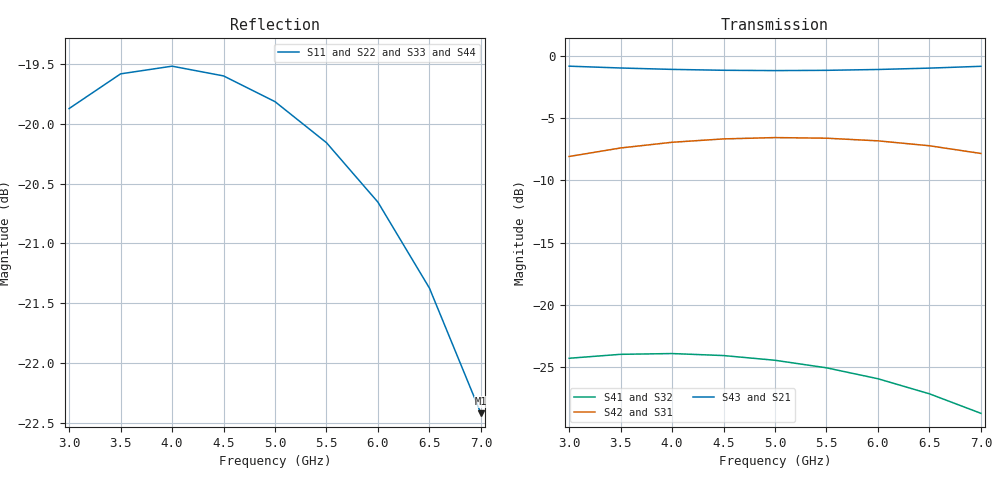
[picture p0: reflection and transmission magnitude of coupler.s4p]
! broadside stripline coupler, mom25d_ml
# Hz S RI R 61.354
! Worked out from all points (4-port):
!   9 points, 3 GHz to 7 GHz, reference 61.354 ohm
!   strongest paths, dB at 3 GHz, 4 GHz, 5 GHz, 6 GHz, 7 GHz:
!     S43: -0.8, -1.1, -1.2, -1.1, -0.8
!     S21: -0.8, -1.1, -1.2, -1.1, -0.8
!     S42: -8.1, -6.9, -6.6, -6.8, -7.8
!     S31: -8.1, -6.9, -6.6, -6.8, -7.8
!     S41: -24.3, -23.9, -24.5, -26.0, -28.7
!     S32: -24.3, -23.9, -24.5, -26.0, -28.7
!   lowest |S11| = -22.4 dB at 7 GHz (marker M1), VSWR 1.16, Z = 62.6 + j9.32 ohm
!   |S11| at or under -10 dB: start of sweep to end of sweep
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3e9  -0.1009 0.0105  0.0753 -0.908  0.3938 0.0271  0.0462 -0.0396
     0.0753 -0.908  -0.1009 0.0105  0.0462 -0.0396  0.3938 0.0271
     0.3938 0.0271  0.0462 -0.0396  -0.1009 0.0105  0.0753 -0.908
     0.0462 -0.0396  0.3938 0.0271  0.0753 -0.908  -0.1009 0.0105
3.5e9  -0.0993 0.0338  -0.1292 -0.8865  0.4218 -0.0671  0.032 -0.0545
       -0.1292 -0.8865  -0.0993 0.0338  0.032 -0.0545  0.4218 -0.0671
       0.4218 -0.0671  0.032 -0.0545  -0.0993 0.0338  -0.1292 -0.8865
       0.032 -0.0545  0.4218 -0.0671  -0.1292 -0.8865  -0.0993 0.0338
4e9  -0.0906 0.0544  -0.3185 -0.825  0.4181 -0.167  0.0135 -0.0621
     -0.3185 -0.825  -0.0906 0.0544  0.0135 -0.0621  0.4181 -0.167
     0.4181 -0.167  0.0135 -0.0621  -0.0906 0.0544  -0.3185 -0.825
     0.0135 -0.0621  0.4181 -0.167  -0.3185 -0.825  -0.0906 0.0544
5e9  -0.0603 0.0825  -0.6323 -0.6042  0.3222 -0.3425  -0.0224 -0.0554
     -0.6323 -0.6042  -0.0603 0.0825  -0.0224 -0.0554  0.3222 -0.3425
     0.3222 -0.3425  -0.0224 -0.0554  -0.0603 0.0825  -0.6323 -0.6042
     -0.0224 -0.0554  0.3222 -0.3425  -0.6323 -0.6042  -0.0603 0.0825
6e9  -0.0213 0.0903  -0.8379 -0.2806  0.1428 -0.4333  -0.0401 -0.0305
     -0.8379 -0.2806  -0.0213 0.0903  -0.0401 -0.0305  0.1428 -0.4333
     0.1428 -0.4333  -0.0401 -0.0305  -0.0213 0.0903  -0.8379 -0.2806
     -0.0401 -0.0305  0.1428 -0.4333  -0.8379 -0.2806  -0.0213 0.0903
6.5e9  -0.00158 0.0854  -0.8904 -0.0892  0.0418 -0.4339  -0.0398 -0.0182
       -0.8904 -0.0892  -0.00156 0.0854  -0.0398 -0.0182  0.0418 -0.4339
       0.0418 -0.4339  -0.0398 -0.0182  -0.00158 0.0854  -0.8904 -0.0892
       -0.0398 -0.0182  0.0418 -0.4339  -0.8904 -0.0892  -0.00156 0.0854
7e9  0.016 0.074  -0.9026 0.116  -0.0531 -0.4024  -0.0352 -0.00989
     -0.9026 0.116  0.016 0.074  -0.0352 -0.00989  -0.0531 -0.4024
     -0.0531 -0.4024  -0.0352 -0.00989  0.016 0.074  -0.9026 0.116
     -0.0352 -0.00989  -0.0531 -0.4024  -0.9026 0.116  0.016 0.074
